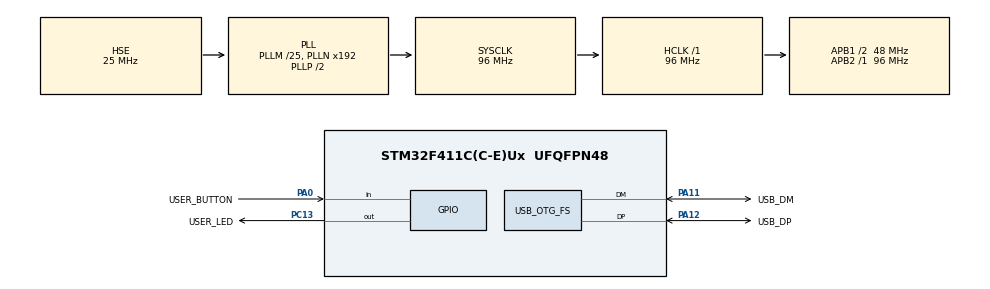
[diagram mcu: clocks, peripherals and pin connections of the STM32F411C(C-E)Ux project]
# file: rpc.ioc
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Mcu.Family=STM32F4
Mcu.Name=STM32F411C(C-E)Ux
Mcu.Package=UFQFPN48
NVIC.OTG_FS_IRQn=true\:0\:0\:false\:false\:true\:false\:true
NVIC.PriorityGroup=NVIC_PRIORITYGROUP_4
PA0-WKUP.GPIO_Label=USER_BUTTON
PA0-WKUP.Signal=GPIO_Input
PA11.GPIO_Label=USB_DM
PA11.Mode=Device_Only
PA11.Signal=USB_OTG_FS_DM
PA12.GPIO_Label=USB_DP
PA12.Mode=Device_Only
PA12.Signal=USB_OTG_FS_DP
PA13.Signal=SYS_JTMS-SWDIO
PA14.Signal=SYS_JTCK-SWCLK
PC13-ANTI_TAMP.GPIO_Label=USER_LED
PC13-ANTI_TAMP.Signal=GPIO_Output
PH0\ -\ OSC_IN.Mode=HSE-External-Oscillator
PH0\ -\ OSC_IN.Signal=RCC_OSC_IN
PH1\ -\ OSC_OUT.Mode=HSE-External-Oscillator
PH1\ -\ OSC_OUT.Signal=RCC_OSC_OUT
ProjectManager.HeapSize=0x200
ProjectManager.StackSize=0x400
ProjectManager.TargetToolchain=Makefile
RCC.48MHZClocksFreq_Value=48000000
RCC.AHBFreq_Value=96000000
RCC.APB1CLKDivider=RCC_HCLK_DIV2
RCC.APB1Freq_Value=48000000
RCC.APB1TimFreq_Value=96000000
RCC.APB2Freq_Value=96000000
RCC.APB2TimFreq_Value=96000000
RCC.CortexFreq_Value=96000000
RCC.HCLKFreq_Value=96000000
RCC.HSE_VALUE=25000000
RCC.HSI_VALUE=16000000
RCC.LSE_VALUE=32768
RCC.PLLM=25
RCC.SYSCLKFreq_VALUE=96000000
RCC.SYSCLKSource=RCC_SYSCLKSOURCE_PLLCLK
RCC.VCOOutputFreq_Value=192000000
USB_DEVICE.CLASS_NAME_FS=CDC
USB_DEVICE.VirtualMode=Cdc
USB_DEVICE.VirtualModeFS=Cdc_FS
USB_OTG_FS.VirtualMode=Device_Only
VP_USB_DEVICE_VS_USB_DEVICE_CDC_FS.Mode=CDC_FS
board=custom

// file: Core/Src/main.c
/* USER CODE BEGIN Header */
/**
  ******************************************************************************
  * @file           : main.c
  * @brief          : Main program body
  ******************************************************************************
  * @attention
  *
  * Copyright (c) 2022 STMicroelectronics.
  * All rights reserved.
  *
  * This software is licensed under terms that can be found in the LICENSE file
  * in the root directory of this software component.
  * If no LICENSE file comes with this software, it is provided AS-IS.
  *
  ******************************************************************************
  */
/* USER CODE END Header */
#include "main.h"
#include "usb_device.h"

/* USER CODE BEGIN Includes */
#include <stdio.h>
#include "usbd_cdc_if.h"
/* USER CODE END Includes */

void SystemClock_Config(void);
static void MX_GPIO_Init(void);
/* USER CODE BEGIN PFP */
uint16_t testInt(void);
float testFloat(void);
uint16_t add(uint16_t a, uint16_t b);
uint16_t setLed(uint8_t ledSetting);
char* returnCharPtr(uint32_t** long_to_long_array);
uint64_t* returnLongLongPtr(uint64_t*** super_long_ptr_triple);
uint64_t returnLongLongValue(double float_double_precision);
/* USER CODE END PFP */

int main(void)
{

  /* MCU Configuration--------------------------------------------------------*/

  /* Reset of all peripherals, Initializes the Flash interface and the Systick. */
  HAL_Init();

  /* Configure the system clock */
  SystemClock_Config();

  /* Initialize all configured peripherals */
  MX_GPIO_Init();
  MX_USB_DEVICE_Init();
  /* USER CODE BEGIN 2 */

  uint8_t ledSetting = 0;
  uint16_t iValue = 0;
  float fValue = 0.0f;
  volatile uint16_t bytesAvailable = 0;
  uint8_t mirror[128];
  uint8_t tx_status=0;
  uint32_t max_tx_busy_cnt=0;
  uint32_t tx_busy_cnt=0;

  /* USER CODE END 2 */

  /* Infinite loop */
  /* USER CODE BEGIN WHILE */
  while (1)
  {
    // HAL_GPIO_WritePin(USER_LED_GPIO_Port, USER_LED_Pin, GPIO_PIN_SET);
    // printf("Hello World\r\n");
    // HAL_GPIO_TogglePin(USER_LED_GPIO_Port, USER_LED_Pin);
    // HAL_Delay(1000);

    volatile uint16_t testIntResult = 0;
    volatile uint16_t addParamA = 0;
    volatile uint16_t addParamB = 0;
    volatile uint16_t addResult = 0;
    bytesAvailable = CDC_GetRxBufferBytesAvailable_FS();
    if (bytesAvailable) {

      // // TEST FOR RPC
      // uint8_t data = 0xFF;
      // CDC_ReadRxBuffer_FS(&data, sizeof(data));
      // switch (data) {
      //   case 0x00:
      //     testIntResult = testInt();
      //     do {
      //       tx_status = CDC_Transmit_FS((uint8_t*)&testIntResult, sizeof(testIntResult));
      //     }
      //     while (tx_status != USBD_OK);
      //     break;
      //   case 0x01:
      //     fValue = testFloat();
      //     do {
      //       tx_status = CDC_Transmit_FS((uint8_t*)&fValue, sizeof(fValue));
      //     }
      //     while (tx_status != USBD_OK);
      //     break;
      //   case 0x02:
      //     do{
      //       bytesAvailable = CDC_GetRxBufferBytesAvailable_FS();
      //     }
      //     while (bytesAvailable < 4);
      //     CDC_ReadRxBuffer_FS((uint8_t*)&addParamA, sizeof(addParamA));
      //     CDC_ReadRxBuffer_FS((uint8_t*)&addParamB, sizeof(addParamB));
      //     addResult = add(addParamA, addParamB);
      //     do {
      //       tx_status = CDC_Transmit_FS((uint8_t*)&addResult, sizeof(addResult));
      //     }
      //     while (tx_status != USBD_OK);
      //     break;
      //   case 0x03:
      //     do{
      //       bytesAvailable = CDC_GetRxBufferBytesAvailable_FS();
      //     }
      //     while (bytesAvailable < 1);
      //     CDC_ReadRxBuffer_FS((uint8_t*)&ledSetting, sizeof(ledSetting));
      //     iValue = setLed(ledSetting);
      //     do {
      //       tx_status = CDC_Transmit_FS((uint8_t*)&iValue, sizeof(iValue));
      //     }
      //     while (tx_status != USBD_OK);
      //     break;
      //   default:
      //     break;
      // }
      // // TEST FOR RPC

      // TEST FOR CDC
      CDC_ReadRxBuffer_FS(mirror, bytesAvailable);
      tx_busy_cnt = 0;
      do {
        tx_status = CDC_Transmit_FS(mirror, bytesAvailable);
        tx_busy_cnt++;
      }
      while (tx_status == USBD_BUSY);
      if(tx_busy_cnt > 1) {
        if (tx_busy_cnt > max_tx_busy_cnt) {
          max_tx_busy_cnt = tx_busy_cnt;
        }
      }
      // TEST FOR CDC

    }

    /* USER CODE END WHILE */

  }
}

void SystemClock_Config(void)
{
  RCC_OscInitTypeDef RCC_OscInitStruct = {0};
  RCC_ClkInitTypeDef RCC_ClkInitStruct = {0};

  /** Configure the main internal regulator output voltage
  */
  __HAL_RCC_PWR_CLK_ENABLE();
  __HAL_PWR_VOLTAGESCALING_CONFIG(PWR_REGULATOR_VOLTAGE_SCALE1);
  /** Initializes the RCC Oscillators according to the specified parameters
  * in the RCC_OscInitTypeDef structure.
  */
  RCC_OscInitStruct.OscillatorType = RCC_OSCILLATORTYPE_HSE;
  RCC_OscInitStruct.HSEState = RCC_HSE_ON;
  RCC_OscInitStruct.PLL.PLLState = RCC_PLL_ON;
  RCC_OscInitStruct.PLL.PLLSource = RCC_PLLSOURCE_HSE;
  RCC_OscInitStruct.PLL.PLLM = 25;
  RCC_OscInitStruct.PLL.PLLN = 192;
  RCC_OscInitStruct.PLL.PLLP = RCC_PLLP_DIV2;
  RCC_OscInitStruct.PLL.PLLQ = 4;
  if (HAL_RCC_OscConfig(&RCC_OscInitStruct) != HAL_OK)
  {
    Error_Handler();
  }
  /** Initializes the CPU, AHB and APB buses clocks
  */
  RCC_ClkInitStruct.ClockType = RCC_CLOCKTYPE_HCLK|RCC_CLOCKTYPE_SYSCLK
                              |RCC_CLOCKTYPE_PCLK1|RCC_CLOCKTYPE_PCLK2;
  RCC_ClkInitStruct.SYSCLKSource = RCC_SYSCLKSOURCE_PLLCLK;
  RCC_ClkInitStruct.AHBCLKDivider = RCC_SYSCLK_DIV1;
  RCC_ClkInitStruct.APB1CLKDivider = RCC_HCLK_DIV2;
  RCC_ClkInitStruct.APB2CLKDivider = RCC_HCLK_DIV1;

  if (HAL_RCC_ClockConfig(&RCC_ClkInitStruct, FLASH_LATENCY_3) != HAL_OK)
  {
    Error_Handler();
  }
}

static void MX_GPIO_Init(void)
{
  GPIO_InitTypeDef GPIO_InitStruct = {0};

  /* GPIO Ports Clock Enable */
  __HAL_RCC_GPIOC_CLK_ENABLE();
  __HAL_RCC_GPIOH_CLK_ENABLE();
  __HAL_RCC_GPIOA_CLK_ENABLE();

  /*Configure GPIO pin Output Level */
  HAL_GPIO_WritePin(USER_LED_GPIO_Port, USER_LED_Pin, GPIO_PIN_RESET);

  /*Configure GPIO pin : USER_LED_Pin */
  GPIO_InitStruct.Pin = USER_LED_Pin;
  GPIO_InitStruct.Mode = GPIO_MODE_OUTPUT_PP;
  GPIO_InitStruct.Pull = GPIO_NOPULL;
  GPIO_InitStruct.Speed = GPIO_SPEED_FREQ_LOW;
  HAL_GPIO_Init(USER_LED_GPIO_Port, &GPIO_InitStruct);

  /*Configure GPIO pin : USER_BUTTON_Pin */
  GPIO_InitStruct.Pin = USER_BUTTON_Pin;
  GPIO_InitStruct.Mode = GPIO_MODE_INPUT;
  GPIO_InitStruct.Pull = GPIO_NOPULL;
  HAL_GPIO_Init(USER_BUTTON_GPIO_Port, &GPIO_InitStruct);

}

/* USER CODE BEGIN 4 */
int _write(int file, uint8_t *data, int len)
{
  (void) file;
  CDC_Transmit_FS(data, len);
  HAL_StatusTypeDef status = CDC_Transmit_FS(data, len);
  // return # of bytes written - as best we can tell
  return (status == HAL_OK ? len : 0);
}

uint16_t testInt(void)
{
  return 42;
}

float testFloat(void)
{
  return 3.141592654;
}

uint16_t add(uint16_t a, uint16_t b)
{
  return a + b;
}

uint16_t setLed(uint8_t ledSetting)
{
  HAL_GPIO_WritePin(USER_LED_GPIO_Port, USER_LED_Pin, ledSetting);
  return (uint16_t) ledSetting;
}

char* returnCharPtr(uint32_t** long_to_long_array){
  char* simple = NULL;
  return simple;
}

uint64_t* returnLongLongPtr(uint64_t*** super_long_ptr_triple){
  uint64_t* simple = NULL;
  return simple;
}

uint64_t returnLongLongValue(double float_double_precision){
  uint64_t simple = 0;
  return simple;
}

/* USER CODE END 4 */

void Error_Handler(void)
{
  __disable_irq();
  while (1)
  {
  }
}
